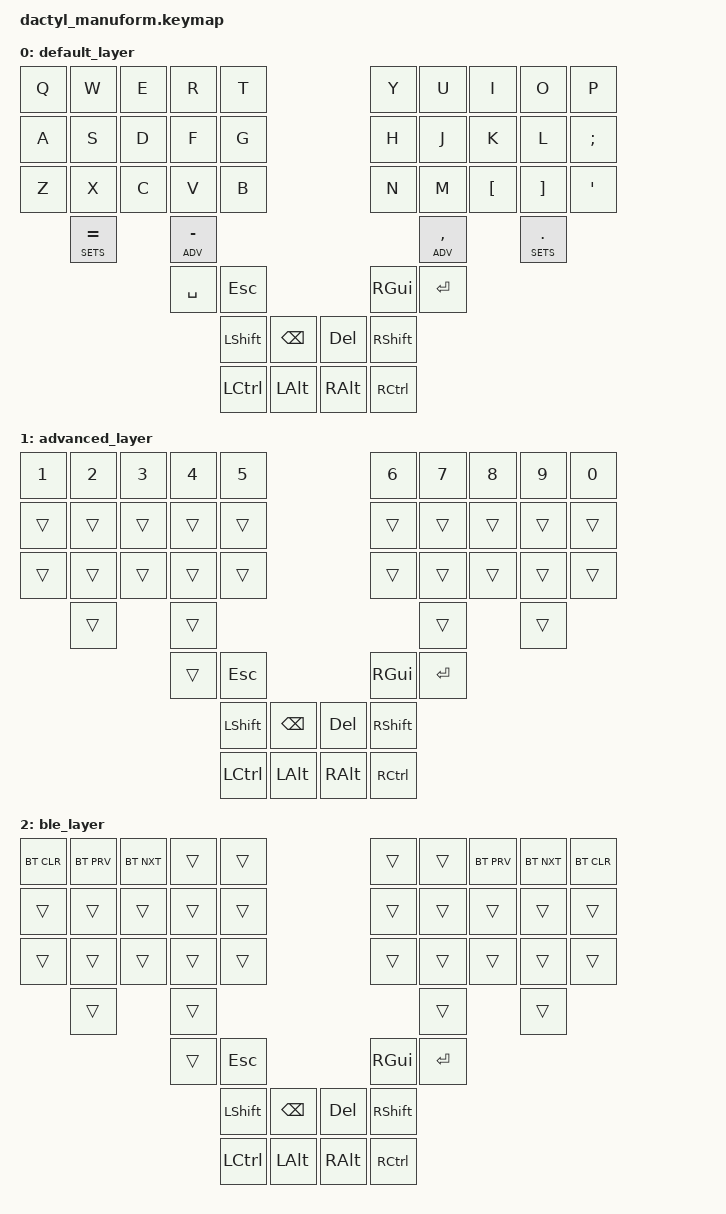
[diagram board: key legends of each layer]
/*
 * Copyright (c) 2020-2021 The ZMK Contributors
 *
 * SPDX-License-Identifier: MIT
 */

#include <behaviors.dtsi>
#include <dt-bindings/zmk/keys.h>
#include <dt-bindings/zmk/bt.h>
#include <dt-bindings/zmk/outputs.h>

#define DEFAULT 0
#define ADV 1
#define SETS 2

#define LT_MIN ADV MINUS
#define LT_EQ  SETS EQUAL

#define LT_COM  ADV COMMA
#define LT_DOT  SETS DOT


&lt { quick_tap_ms = <200>; };

/ {

	keymap {
		compatible = "zmk,keymap";

		default_layer {
			bindings = <
			&kp Q		&kp W		&kp E		&kp R		&kp T									&kp Y		&kp U		&kp I		&kp O		&kp P
			&kp A		&kp S		&kp D		&kp F		&kp G									&kp H		&kp J		&kp K		&kp L		&kp SEMI
			&kp Z		&kp X		&kp C		&kp V		&kp B									&kp N		&kp M		&kp LBKT	&kp RBKT	&kp SQT
						&lt SETS EQUAL			&lt ADV MINUS													&lt ADV COMMA			&lt SETS DOT
												&kp SPACE	&kp ESC									&kp RGUI 	&kp ENTER
															&kp LSHFT	&kp BSPC		&kp DEL		&kp RSHFT
															&kp LCTRL	&kp LALT		&kp RALT	&kp RCTRL
			>;
		};

		advanced_layer {
			bindings = <
			&kp N1		&kp N2		&kp N3		&kp N4		&kp N5									&kp N6		&kp N7		&kp N8		&kp N9		&kp N0
			&trans		&trans		&trans		&trans		&trans									&trans		&trans		&trans		&trans		&trans
			&trans		&trans		&trans		&trans		&trans									&trans		&trans		&trans		&trans		&trans
						&trans					&trans															&trans					&trans
												&trans		&kp ESC									&kp RGUI	&kp ENTER
															&kp LSHFT	&kp BSPC		&kp DEL		&kp RSHFT
															&kp LCTRL	&kp LALT		&kp RALT	&kp RCTRL
			>;
		};

		ble_layer {
			bindings = <
			&bt BT_CLR	&bt BT_PRV &bt BT_NXT	&trans		&trans									&trans		&trans		&bt BT_PRV &bt BT_NXT	&bt BT_CLR
			&trans		&trans		&trans		&trans		&trans									&trans		&trans		&trans		&trans		&trans
			&trans		&trans		&trans		&trans		&trans									&trans		&trans		&trans		&trans		&trans
						&trans					&trans															&trans					&trans
												&trans		&kp ESC									&kp RGUI	&kp ENTER
															&kp LSHFT	&kp BSPC		&kp DEL		&kp RSHFT
															&kp LCTRL	&kp LALT		&kp RALT	&kp RCTRL
			>;
		};
	};
};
